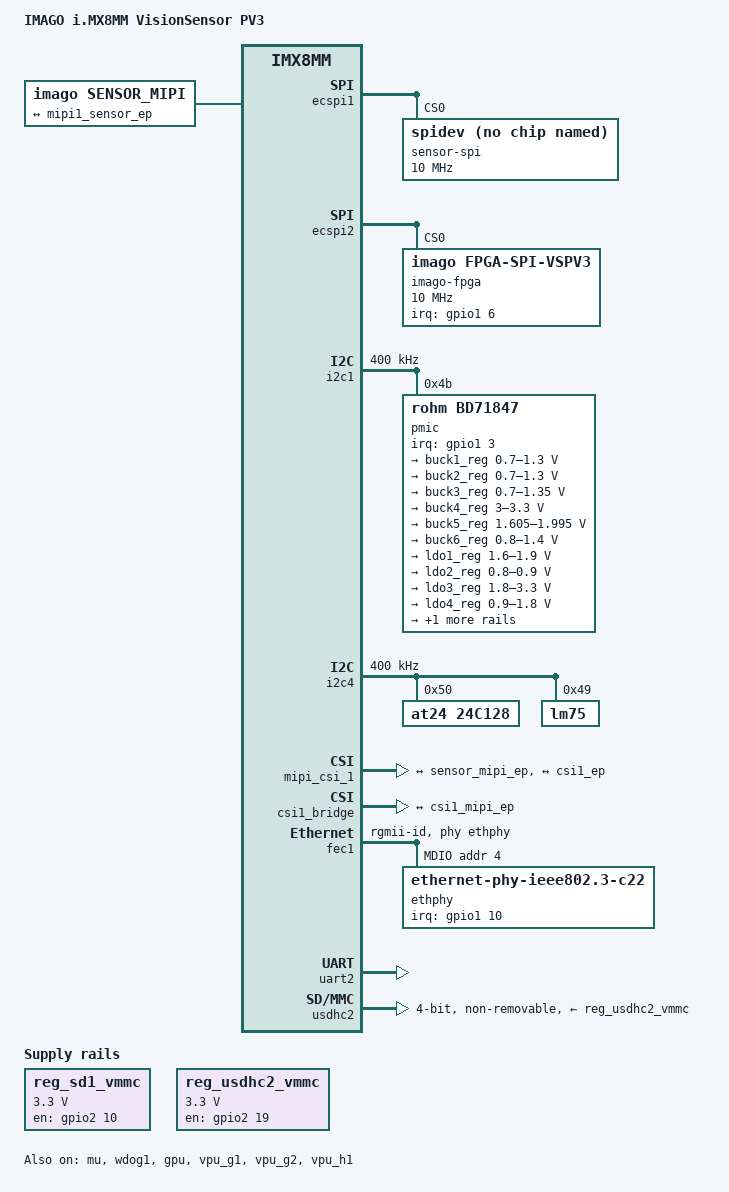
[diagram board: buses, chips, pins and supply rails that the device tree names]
/*
 * Copyright (C) Imago Technologies GmbH - https://www.imago-technologies.com/
 *
 * This program is free software; you can redistribute it and/or modify
 * it under the terms of the GNU General Public License version 2 as
 * published by the Free Software Foundation.
 */

/dts-v1/;

#include "fsl-imx8mm.dtsi"

/* redefine MX8MM_IOMUXC_GPIO1_IO00_CCMSRCGPCMIX_ENET_PHY_REF_CLK_ROOT, because the original
   definition in include/dt-bindings/pinctrl/pins-imx8mm.h overwrites the input register IOMUXC_ENET1_MDIO_SELECT_INPUT
   for some reason:
   #define MX8MM_IOMUXC_GPIO1_IO00_CCMSRCGPCMIX_ENET_PHY_REF_CLK_ROOT          0x028 0x290 0x4C0 0x1 0x0
*/
#undef MX8MM_IOMUXC_GPIO1_IO00_CCMSRCGPCMIX_ENET_PHY_REF_CLK_ROOT
#define MX8MM_IOMUXC_GPIO1_IO00_CCMSRCGPCMIX_ENET_PHY_REF_CLK_ROOT          0x028 0x290 0x000 0x1 0x0

/ {
	model = "IMAGO i.MX8MM VisionSensor PV3";
	compatible = "imago,imx8mm-visionsensor-pv3", "fsl,imx8mm";

	chosen {
		bootargs = "console=ttymxc1,115200 earlycon=ec_imx6q,0x30890000,115200";
		stdout-path = &uart2;
	};

	aliases {
		mmc0 = &usdhc2;
		/delete-property/ mmc1;
		/delete-property/ mmc2;
	};

	regulators {
		compatible = "simple-bus";
		#address-cells = <1>;
		#size-cells = <0>;

		reg_sd1_vmmc: sd1_regulator {
			compatible = "regulator-fixed";
			regulator-name = "WLAN_EN";
			regulator-min-microvolt = <3300000>;
			regulator-max-microvolt = <3300000>;
			gpio = <&gpio2 10 GPIO_ACTIVE_HIGH>;
			off-on-delay = <20000>;
			startup-delay-us = <100>;
			enable-active-high;
		};

		reg_usdhc2_vmmc: regulator-usdhc2 {
			compatible = "regulator-fixed";
			regulator-name = "VSD_3V3";
			regulator-min-microvolt = <3300000>;
			regulator-max-microvolt = <3300000>;
			gpio = <&gpio2 19 GPIO_ACTIVE_HIGH>;
			off-on-delay = <20000>;
			enable-active-high;
		};
	};

	/delete-node/ tmu@30260000;
	/delete-node/ thermal-zones;

	sensor_mipi: sensor {
		compatible = "imago,sensor_mipi";
		status = "okay";
		port {
			sensor_mipi_ep: endpoint {
				remote-endpoint = <&mipi1_sensor_ep>;
			};
		};
	};
};

&resmem {
		linux,cma {
			size = <0 0x08000000>;
		};
};

&clk {
	/* Add IMX8MM_CLK_ENET_PHY_REF to the init-on-array. This clock is used
	   by the FPGA (gpio1_00). Without this, the clock is disabled until the
	   ethernet driver (fec) is loaded. */
	init-on-array = <IMX8MM_CLK_AHB IMX8MM_CLK_DRAM_CORE
			 IMX8MM_CLK_NOC IMX8MM_CLK_NOC_APB
			 IMX8MM_CLK_USB_BUS
			 IMX8MM_CLK_MAIN_AXI IMX8MM_CLK_AUDIO_AHB
			 IMX8MM_CLK_DRAM_APB IMX8MM_CLK_A53_DIV
			 IMX8MM_ARM_PLL_OUT IMX8MM_CLK_DISP_AXI
			 IMX8MM_CLK_DISP_APB
			 IMX8MM_CLK_ENET_PHY_REF>;
};

&iomuxc {
	pinctrl-names = "default";
	pinctrl-0 = <&pinctrl_gpio1>;

	imx8mm-visionsensor-pv3 {
		pinctrl_fec1: fec1grp {
			fsl,pins = <
				MX8MM_IOMUXC_ENET_MDC_ENET1_MDC		0x3
				MX8MM_IOMUXC_ENET_MDIO_ENET1_MDIO	0x3
				MX8MM_IOMUXC_ENET_TD3_ENET1_RGMII_TD3	0x1f
				MX8MM_IOMUXC_ENET_TD2_ENET1_RGMII_TD2	0x1f
				MX8MM_IOMUXC_ENET_TD1_ENET1_RGMII_TD1	0x1f
				MX8MM_IOMUXC_ENET_TD0_ENET1_RGMII_TD0	0x1f
				MX8MM_IOMUXC_ENET_RD3_ENET1_RGMII_RD3	0x91
				MX8MM_IOMUXC_ENET_RD2_ENET1_RGMII_RD2	0x91
				MX8MM_IOMUXC_ENET_RD1_ENET1_RGMII_RD1	0x91
				MX8MM_IOMUXC_ENET_RD0_ENET1_RGMII_RD0	0x91
				MX8MM_IOMUXC_ENET_TXC_ENET1_RGMII_TXC	0x1f
				MX8MM_IOMUXC_ENET_RXC_ENET1_RGMII_RXC	0x91
				MX8MM_IOMUXC_ENET_RX_CTL_ENET1_RGMII_RX_CTL	0x91
				MX8MM_IOMUXC_ENET_TX_CTL_ENET1_RGMII_TX_CTL	0x1f
				MX8MM_IOMUXC_SAI2_RXC_GPIO4_IO22	0x19
			>;
		};

		pinctrl_usb1: usb1grp {
			fsl,pins = <
				MX8MM_IOMUXC_GPIO1_IO00_GPIO1_IO0		0x106	// LEDA_EN: pull-down
				MX8MM_IOMUXC_GPIO1_IO05_GPIO1_IO5		0x100	// status LED: pull-down
			>;
		};

		pinctrl_gpio1: gpio1grp {
			fsl,pins = <
				MX8MM_IOMUXC_GPIO1_IO01_GPIO1_IO1		0x106	// sensor type with pull-down (or LEDB_EN)
				MX8MM_IOMUXC_GPIO1_IO07_GPIO1_IO7		0x140	// hardware revision with pull-up
				MX8MM_IOMUXC_GPIO1_IO08_GPIO1_IO8		0x100	// reserved with pull-down
				MX8MM_IOMUXC_GPIO1_IO09_GPIO1_IO9		0x100	// reserved with pull-down
			>;
		};

		pinctrl_ecspi1: ecspi1grp {
			fsl,pins = <
				MX8MM_IOMUXC_ECSPI1_SCLK_ECSPI1_SCLK		0x82
				MX8MM_IOMUXC_ECSPI1_MOSI_ECSPI1_MOSI		0x82
				MX8MM_IOMUXC_ECSPI1_MISO_ECSPI1_MISO		0x82
				MX8MM_IOMUXC_ECSPI1_SS0_ECSPI1_SS0		0x40000
			>;
		};

		pinctrl_ecspi2: ecspi2grp {
			fsl,pins = <
				MX8MM_IOMUXC_ECSPI2_SCLK_ECSPI2_SCLK		0x82
				MX8MM_IOMUXC_ECSPI2_MOSI_ECSPI2_MOSI		0x82
				MX8MM_IOMUXC_ECSPI2_MISO_ECSPI2_MISO		0x82
				MX8MM_IOMUXC_ECSPI2_SS0_ECSPI2_SS0		0x40000
			>;
		};

		pinctrl_i2c1: i2c1grp {
			fsl,pins = <
				MX8MM_IOMUXC_I2C1_SCL_I2C1_SCL			0x400001c3
				MX8MM_IOMUXC_I2C1_SDA_I2C1_SDA			0x400001c3
			>;
		};

		pinctrl_i2c4: i2c4grp {
			fsl,pins = <
				MX8MM_IOMUXC_I2C4_SCL_I2C4_SCL			0x400001c3
				MX8MM_IOMUXC_I2C4_SDA_I2C4_SDA			0x400001c3
			>;
		};

		pinctrl_pmic: pmicirq {
			fsl,pins = <
				MX8MM_IOMUXC_GPIO1_IO03_GPIO1_IO3		0x41
			>;
		};

		pinctrl_ethphy: ethphyirq {
			fsl,pins = <
				MX8MM_IOMUXC_GPIO1_IO10_GPIO1_IO10		0x41
			>;
		};

		pinctrl_fpga: fpgaspi {
			fsl,pins = <
				MX8MM_IOMUXC_GPIO1_IO06_GPIO1_IO6		0x41
				MX8MM_IOMUXC_GPIO1_IO00_CCMSRCGPCMIX_ENET_PHY_REF_CLK_ROOT	0x41
			>;
		};

		pinctrl_uart2: uart2grp {
			fsl,pins = <
				MX8MM_IOMUXC_UART2_RXD_UART2_DCE_RX	0x140
				MX8MM_IOMUXC_UART2_TXD_UART2_DCE_TX	0x140
			>;
		};

		pinctrl_usdhc2_gpio: usdhc2grpgpio {
			fsl,pins = <
				MX8MM_IOMUXC_SD2_RESET_B_GPIO2_IO19	0x41
			>;
		};

		pinctrl_usdhc2: usdhc2grp {
			fsl,pins = <
				MX8MM_IOMUXC_SD2_CLK_USDHC2_CLK		0x190
				MX8MM_IOMUXC_SD2_CMD_USDHC2_CMD		0x1d0
				MX8MM_IOMUXC_SD2_DATA0_USDHC2_DATA0	0x1d0
				MX8MM_IOMUXC_SD2_DATA1_USDHC2_DATA1	0x1d0
				MX8MM_IOMUXC_SD2_DATA2_USDHC2_DATA2	0x1d0
				MX8MM_IOMUXC_SD2_DATA3_USDHC2_DATA3	0x1d0
				MX8MM_IOMUXC_GPIO1_IO04_USDHC2_VSELECT	0x1d0
			>;
		};

		pinctrl_usdhc2_100mhz: usdhc2grp100mhz {
			fsl,pins = <
				MX8MM_IOMUXC_SD2_CLK_USDHC2_CLK		0x194
				MX8MM_IOMUXC_SD2_CMD_USDHC2_CMD		0x1d4
				MX8MM_IOMUXC_SD2_DATA0_USDHC2_DATA0	0x1d4
				MX8MM_IOMUXC_SD2_DATA1_USDHC2_DATA1	0x1d4
				MX8MM_IOMUXC_SD2_DATA2_USDHC2_DATA2	0x1d4
				MX8MM_IOMUXC_SD2_DATA3_USDHC2_DATA3	0x1d4
				MX8MM_IOMUXC_GPIO1_IO04_USDHC2_VSELECT	0x1d0
			>;
		};

		pinctrl_usdhc2_200mhz: usdhc2grp200mhz {
			fsl,pins = <
				MX8MM_IOMUXC_SD2_CLK_USDHC2_CLK		0x196
				MX8MM_IOMUXC_SD2_CMD_USDHC2_CMD		0x1d6
				MX8MM_IOMUXC_SD2_DATA0_USDHC2_DATA0	0x1d6
				MX8MM_IOMUXC_SD2_DATA1_USDHC2_DATA1	0x1d6
				MX8MM_IOMUXC_SD2_DATA2_USDHC2_DATA2	0x1d6
				MX8MM_IOMUXC_SD2_DATA3_USDHC2_DATA3	0x1d6
				MX8MM_IOMUXC_GPIO1_IO04_USDHC2_VSELECT	0x1d0
			>;
		};

		pinctrl_wdog: wdoggrp {
			fsl,pins = <
				MX8MM_IOMUXC_GPIO1_IO02_WDOG1_WDOG_B		0xc6
			>;
		};

		pinctrl_pcie0: pcie0grp {
			fsl,pins = <
				MX8MM_IOMUXC_SAI2_RXFS_GPIO4_IO21	0x106
			>;
		};
	};
};

&ecspi1 {
	#address-cells = <1>;
	#size-cells = <0>;
	fsl,spi-num-chipselects = <1>;
	pinctrl-names = "default";
	pinctrl-0 = <&pinctrl_ecspi1>;
	status = "okay";

	/* SPI sensor interface is controlled in userspace  */
	sensor-spi@0 {
		/* compatible = "spidev"; */
		compatible = "rohm,dh2228fv"; /* Workaraound for using 'spidev' which would give a kernel warning */
		reg = <0>;
		spi-max-frequency = <10000000>;
	};
};

&ecspi2 {
	#address-cells = <1>;
	#size-cells = <0>;
	fsl,spi-num-chipselects = <1>;
	pinctrl-names = "default";
	pinctrl-0 = <&pinctrl_ecspi2>;
	status = "okay";

	imago-fpga@0 {
			pinctrl-names = "default";
			pinctrl-0 = <&pinctrl_fpga>;
			reg = <0>;
			compatible = "imago,fpga-spi-vspv3";
			interrupt-parent = <&gpio1>;
			interrupts = <6 IRQ_TYPE_EDGE_FALLING>;
			spi-max-frequency = <10000000>;
			status = "okay";
		};
};

&i2c1 {
	clock-frequency = <400000>;
	pinctrl-names = "default";
	pinctrl-0 = <&pinctrl_i2c1>;
	status = "okay";

	pmic@4b {
		reg = <0x4b>;
		compatible = "rohm,bd71847";
		pinctrl-0 = <&pinctrl_pmic>;
		interrupt-parent = <&gpio1>;
		interrupts = <3 GPIO_ACTIVE_LOW>;
		rohm,reset-snvs-powered;

		regulators {
			#address-cells = <1>;
			#size-cells = <0>;

			buck1_reg: regulator@0 {
				reg = <0>;
				regulator-compatible = "BUCK1";
				regulator-min-microvolt = <700000>;
				regulator-max-microvolt = <1300000>;
				regulator-boot-on;
				regulator-always-on;
				regulator-ramp-delay = <1250>;
			};

			buck2_reg: regulator@1 {
				reg = <1>;
				regulator-compatible = "BUCK2";
				regulator-min-microvolt = <700000>;
				regulator-max-microvolt = <1300000>;
				regulator-boot-on;
				regulator-always-on;
				regulator-ramp-delay = <1250>;
				rohm,dvs-run-voltage = <1000000>;
				rohm,dvs-idle-voltage = <900000>;
			};

			buck3_reg: regulator@2 {
				// BUCK5 in datasheet
				reg = <2>;
				regulator-compatible = "BUCK3";
				regulator-min-microvolt = <700000>;
				regulator-max-microvolt = <1350000>;
				regulator-boot-on;
				regulator-always-on;
			};

			buck4_reg: regulator@3 {
				// BUCK6 in datasheet
				reg = <3>;
				regulator-compatible = "BUCK4";
				regulator-min-microvolt = <3000000>;
				regulator-max-microvolt = <3300000>;
				regulator-boot-on;
				regulator-always-on;
			};

			buck5_reg: regulator@4 {
				// BUCK7 in datasheet
				reg = <4>;
				regulator-compatible = "BUCK5";
				regulator-min-microvolt = <1605000>;
				regulator-max-microvolt = <1995000>;
				regulator-boot-on;
				regulator-always-on;
			};

			buck6_reg: regulator@5 {
				// BUCK8 in datasheet
				reg = <5>;
				regulator-compatible = "BUCK6";
				regulator-min-microvolt = <800000>;
				regulator-max-microvolt = <1400000>;
				regulator-boot-on;
				regulator-always-on;
			};

			ldo1_reg: regulator@6 {
				reg = <6>;
				regulator-compatible = "LDO1";
				regulator-min-microvolt = <1600000>;
				regulator-max-microvolt = <1900000>;
				regulator-boot-on;
				regulator-always-on;
			};

			ldo2_reg: regulator@7 {
				reg = <7>;
				regulator-compatible = "LDO2";
				regulator-min-microvolt = <800000>;
				regulator-max-microvolt = <900000>;
				regulator-boot-on;
				regulator-always-on;
			};

			ldo3_reg: regulator@8 {
				reg = <8>;
				regulator-compatible = "LDO3";
				regulator-min-microvolt = <1800000>;
				regulator-max-microvolt = <3300000>;
				regulator-boot-on;
				regulator-always-on;
			};

			ldo4_reg: regulator@9 {
				reg = <9>;
				regulator-compatible = "LDO4";
				regulator-min-microvolt = <900000>;
				regulator-max-microvolt = <1800000>;
				regulator-boot-on;
				regulator-always-on;
			};

			ldo6_reg: regulator@11 {
				reg = <11>;
				regulator-compatible = "LDO6";
				regulator-min-microvolt = <900000>;
				regulator-max-microvolt = <1800000>;
				regulator-boot-on;
				regulator-always-on;
			};
		};
	};
};


&i2c4 {
	clock-frequency = <400000>;
	pinctrl-names = "default";
	pinctrl-0 = <&pinctrl_i2c4>;
	status = "okay";

	at24@50 {
		compatible = "at24,24c128";
		pagesize = <64>;
		reg = <0x50>;
	};

	lm75: lm75@49 {
		compatible = "lm75";
		reg = <0x49>;
	};
};

/* CONFIG_MXC_MIPI_CSI => drivers/media/platform/mxc/capture/mxc_mipi_csi.c */
&mipi_csi_1 {
	#address-cells = <1>;
	#size-cells = <0>;
	status = "okay";
	port {
		mipi1_sensor_ep: endpoint@1 {
			remote-endpoint = <&sensor_mipi_ep>;
			data-lanes = <2>;
/* Values for HSSETTLE / CLKSETTLECTL (1100 MHz MIPI clock)
 https://community.nxp.com/t5/i-MX-Processors/Explenation-for-HS-SETTLE-parameter-in-MIPI-CSI-D-PHY-registers/m-p/764266/highlight/true#M118735 */
			csis-hs-settle = <24>;
			csis-clk-settle = <0>;
			csis-wclk;
		};

		csi1_mipi_ep: endpoint@2 {
			remote-endpoint = <&csi1_ep>;
		};
	};
};

/* CONFIG_VIDEO_MXC_CSI_CAMERA => drivers/media/platform/mxc/capture/mx6s_capture.c */
&csi1_bridge {
	fsl,mipi-mode;
	status = "okay";
	dma-coherent;
	port {
		csi1_ep: endpoint {
			remote-endpoint = <&csi1_mipi_ep>;
		};
	};
};

&mu {
	status = "okay";
};

&fec1 {
	pinctrl-names = "default";
	pinctrl-0 = <&pinctrl_fec1>;
	phy-mode = "rgmii-id";
	phy-handle = <&ethphy>;
	fsl,magic-packet;
	status = "okay";

	mdio {
		#address-cells = <1>;
		#size-cells = <0>;

		ethphy: ethernet-phy@4 {
			compatible = "ethernet-phy-ieee802.3-c22";
			pinctrl-0 = <&pinctrl_ethphy>;
			reg = <4>;
			at803x,led-act-blind-workaround;
			at803x,eee-disabled;
			at803x,vddio-1p8v;
			interrupt-parent = <&gpio1>;
			interrupts = <10 IRQ_TYPE_EDGE_FALLING>;
		};
	};
};

&uart2 { /* console */
	pinctrl-names = "default";
	pinctrl-0 = <&pinctrl_uart2>;
	status = "okay";
};

&usdhc2 {
	pinctrl-names = "default", "state_100mhz", "state_200mhz";
	pinctrl-0 = <&pinctrl_usdhc2>, <&pinctrl_usdhc2_gpio>;
	pinctrl-1 = <&pinctrl_usdhc2_100mhz>, <&pinctrl_usdhc2_gpio>;
	pinctrl-2 = <&pinctrl_usdhc2_200mhz>, <&pinctrl_usdhc2_gpio>;
	non-removable;
	disable-wp;
	bus-width = <4>;
	vmmc-supply = <&reg_usdhc2_vmmc>;
	status = "okay";
};

&wdog1 {
	pinctrl-names = "default";
	pinctrl-0 = <&pinctrl_wdog>;
	fsl,ext-reset-output;
	status = "okay";
};

&A53_0 {
	arm-supply = <&buck2_reg>;
};

&gpu {
	status = "okay";
};

&vpu_g1 {
	status = "okay";
};

&vpu_g2 {
	status = "okay";
};

&vpu_h1 {
	status = "okay";
};

&snvs {
	/delete-node/ snvs-rtc-lp;
	/delete-node/ snvs-powerkey;
};

&pcie0{
	pinctrl-names = "default";
	pinctrl-0 = <&pinctrl_pcie0>;
	reset-gpio = <&gpio4 21 GPIO_ACTIVE_HIGH>;
	ext_osc = <0>;
	status = "disabled";
	fsl,max-link-speed = <1>;
};

&usbotg1 {
	pinctrl-names = "default";
	pinctrl-0 = <&pinctrl_usb1>;
	dr_mode = "host";
	status = "disabled";
};
